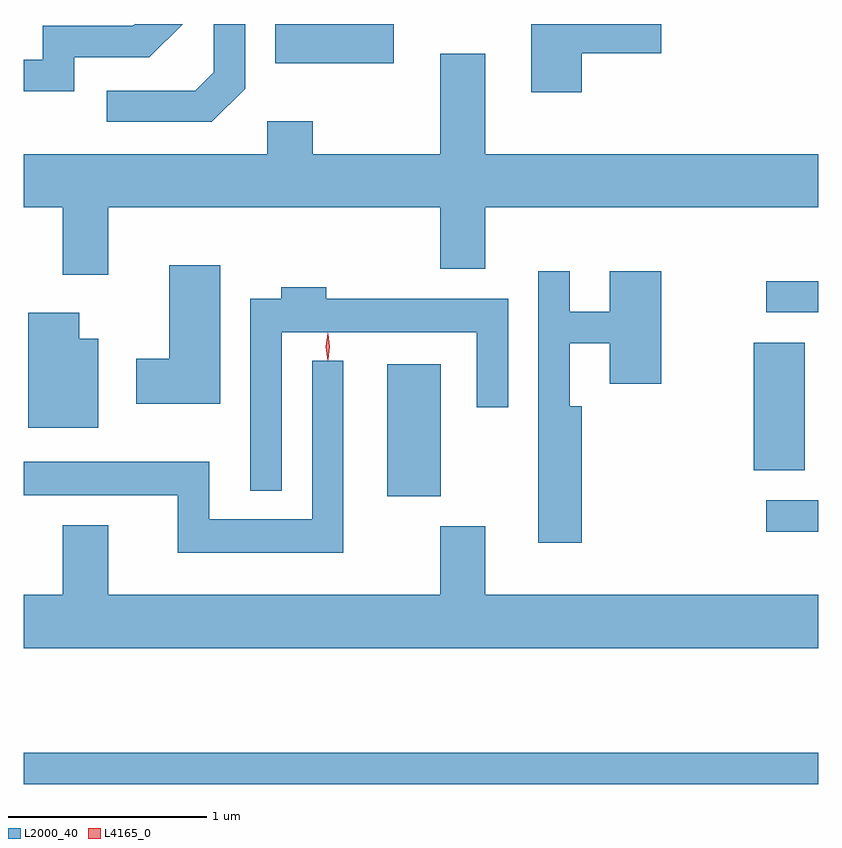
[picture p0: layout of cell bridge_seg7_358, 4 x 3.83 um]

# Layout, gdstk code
import gdstk
lib = gdstk.Library(unit=1e-6, precision=1e-09)
def R(c, l, rs):  # rectangles x0, y0, x1, y1
    for r in rs: c.add(gdstk.rectangle(r[:2], r[2:], *l))
def P(c, l, *ps):  # polygons
    for p in ps: c.add(gdstk.Polygon(p, *l))
L2000_40 = (2000, 40)
L4165_0 = (4165, 0)

bridge_seg7_358 = lib.new_cell('bridge_seg7_358')
R(bridge_seg7_358, L2000_40, [(1202.065,1766.911,1206.065,1767.069), (1205.803,1768.181,1206.065,1768.339), (1203.896,1768.361,1204.164,1769.024), (1205.741,1768.491,1205.999,1769.134), (1205.803,1769.286,1206.065,1769.444), (1203.331,1770.541,1203.929,1770.739)])
P(bridge_seg7_358, L2000_40, [(1203.179,1770.414),(1203.179,1770.739),(1203.021,1770.739),(1203.021,1770.497),(1202.929,1770.404),(1202.483,1770.404),(1202.483,1770.246),(1203.012,1770.246)],
  [(1204.874,1770.591),(1205.274,1770.591),(1205.274,1770.739),(1204.621,1770.739),(1204.621,1770.396),(1204.874,1770.396)],
  [(1202.319,1770.571),(1202.697,1770.571),(1202.864,1770.739),(1202.624,1770.739),(1202.614,1770.729),(1202.161,1770.729),(1202.161,1770.559),(1202.065,1770.559),(1202.065,1770.401),(1202.319,1770.401)],
  [(1202.489,1769.816),(1204.161,1769.816),(1204.161,1769.506),(1204.389,1769.506),(1204.389,1769.816),(1206.065,1769.816),(1206.065,1770.084),(1204.389,1770.084),(1204.389,1770.589),(1204.161,1770.589),(1204.161,1770.084),(1203.519,1770.084),(1203.519,1770.249),(1203.291,1770.249),(1203.291,1770.084),(1202.065,1770.084),(1202.065,1769.816),(1202.261,1769.816),(1202.261,1769.476),(1202.489,1769.476)],
  [(1203.054,1769.524),(1202.796,1769.524),(1202.796,1769.054),(1202.631,1769.054),(1202.631,1768.826),(1203.054,1768.826)],
  [(1204.874,1768.814),(1204.814,1768.814),(1204.814,1769.131),(1205.016,1769.131),(1205.016,1768.926),(1205.274,1768.926),(1205.274,1769.494),(1205.016,1769.494),(1205.016,1769.289),(1204.814,1769.289),(1204.814,1769.493),(1204.656,1769.493),(1204.656,1768.126),(1204.874,1768.126)],
  [(1203.364,1769.186),(1204.346,1769.186),(1204.346,1768.808),(1204.504,1768.808),(1204.504,1769.354),(1203.589,1769.354),(1203.589,1769.414),(1203.361,1769.414),(1203.361,1769.354),(1203.206,1769.354),(1203.206,1768.388),(1203.364,1768.388)],
  [(1202.439,1769.154),(1202.344,1769.154),(1202.344,1769.284),(1202.086,1769.284),(1202.086,1768.706),(1202.439,1768.706)],
  [(1203.674,1769.043),(1203.516,1769.043),(1203.516,1768.244),(1202.999,1768.244),(1202.999,1768.534),(1202.065,1768.534),(1202.065,1768.366),(1202.841,1768.366),(1202.841,1768.076),(1203.674,1768.076)],
  [(1206.065,1767.864),(1204.389,1767.864),(1204.389,1768.209),(1204.161,1768.209),(1204.161,1767.864),(1202.489,1767.864),(1202.489,1768.214),(1202.261,1768.214),(1202.261,1767.864),(1202.065,1767.864),(1202.065,1767.596),(1206.065,1767.596)])
P(bridge_seg7_358, L4165_0, [(1203.595,1769.044),(1203.595,1769.044),(1203.586,1769.113),(1203.596,1769.182),(1203.596,1769.183),(1203.596,1769.182),(1203.606,1769.113),(1203.596,1769.044)],
  [(1203.596,1769.047),(1203.596,1769.048),(1203.586,1769.114),(1203.596,1769.18),(1203.596,1769.181),(1203.597,1769.18),(1203.606,1769.114),(1203.597,1769.048)])

lib.write_gds('bridge_seg7_358.gds')
